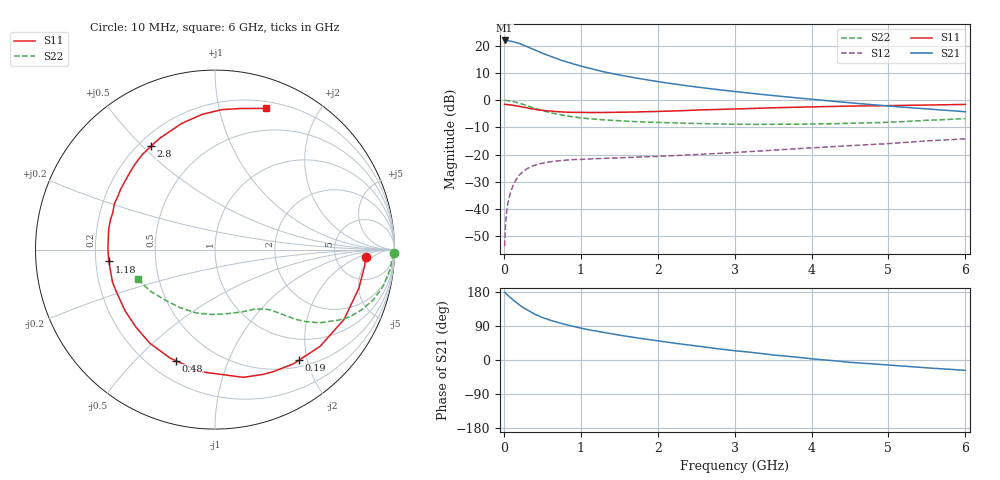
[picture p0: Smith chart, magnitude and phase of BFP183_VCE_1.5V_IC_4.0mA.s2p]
! Infineon Technologies  Discrete & RF Semiconductors
! BFP183
! VCE = 1.5 V,  IC =  4.0 mA
! Common Emitter S-Parameters:  Jan 2016
# GHz  S  MA  R  50
!  f  S11  S21  S12  S22
! GHz  MAG  ANG  MAG  ANG  MAG  ANG  MAG  ANG
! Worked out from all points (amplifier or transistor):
!   210 points, 10 MHz to 6 GHz, reference 50 ohm
!   highest |S21| = 21.9 dB at 10 MHz (marker M1)
!   |S21| within 3 dB of that: start of sweep to 363.1 MHz
!   unconditionally stable (mu >= 1): 1.646 GHz to 5.851 GHz
!   at 185 MHz: K = 0.15, MSG = 24.5 dB, |S12| = -28.1 dB
!   at 1.52 GHz: K = 0.94, MSG = 15.1 dB, |S12| = -21.1 dB
!   at 6 GHz: K = 0.97, MSG = 5.0 dB, |S12| = -14.2 dB
!   S11 on the Smith chart (normalised r, x): 10 MHz: 11, -3; 190 MHz: 0.60, -1.86; 480 MHz: 0.31, -0.67; 1.18 GHz: 0.25, -0.05; 2.8 GHz: 0.25, +0.53; 6 GHz: 0.27, +1.39
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0.01  0.8411 -2.9  12.49 178.4  0.0021 88.0  0.9948 -1.2
0.02  0.8386 -6.1  12.44 176.9  0.0047 85.0  0.9889 -2.5
0.04  0.8308 -11.9  12.44 172.8  0.0098 82.1  0.9845 -4.9
0.1  0.8175 -28.4  12.02 161.9  0.023 74.8  0.9597 -12.1
0.15  0.7959 -42.6  11.54 153.3  0.0332 67.5  0.9263 -17.5
0.19  0.7737 -52.9  11.12 147.0  0.0405 63.0  0.8912 -21.3
0.24  0.7532 -64.7  10.41 139.9  0.0479 57.2  0.8473 -25.7
0.3  0.729 -77.5  9.65 132.4  0.0554 52.1  0.7928 -29.7
0.4  0.6851 -96.7  8.431 121.0  0.0644 44.2  0.7125 -34.9
0.48  0.6563 -109.2  7.506 114.1  0.0687 39.5  0.6575 -37.7
0.6  0.6356 -124.9  6.449 105.2  0.0743 34.7  0.5927 -40.9
0.7  0.6167 -135.8  5.676 99.0  0.0773 32.0  0.5525 -42.5
0.8  0.6061 -145.7  5.13 93.5  0.0795 29.4  0.5215 -43.9
1.02  0.5977 -163.6  4.156 83.3  0.0822 26.3  0.4713 -46.5
1.18  0.5947 -173.6  3.643 77.1  0.0843 24.9  0.4491 -48.3
1.5  0.6033 169.2  2.907 65.6  0.0876 24.1  0.4195 -52.0
2.02  0.6247 146.8  2.17 50.0  0.0937 24.8  0.3905 -59.7
2.8  0.6779 121.9  1.553 29.2  0.1061 26.3  0.3664 -75.3
3.1  0.6968 114.1  1.395 22.6  0.112 26.4  0.3613 -82.3
4.1  0.7605 93.7  1.01 1.5  0.1362 25.4  0.3679 -109.4
5.1  0.7986 79.8  0.762 -14.8  0.1638 22.7  0.3997 -137.1
6  0.8366 70.0  0.615 -27.4  0.1951 16.1  0.4599 -159.3
